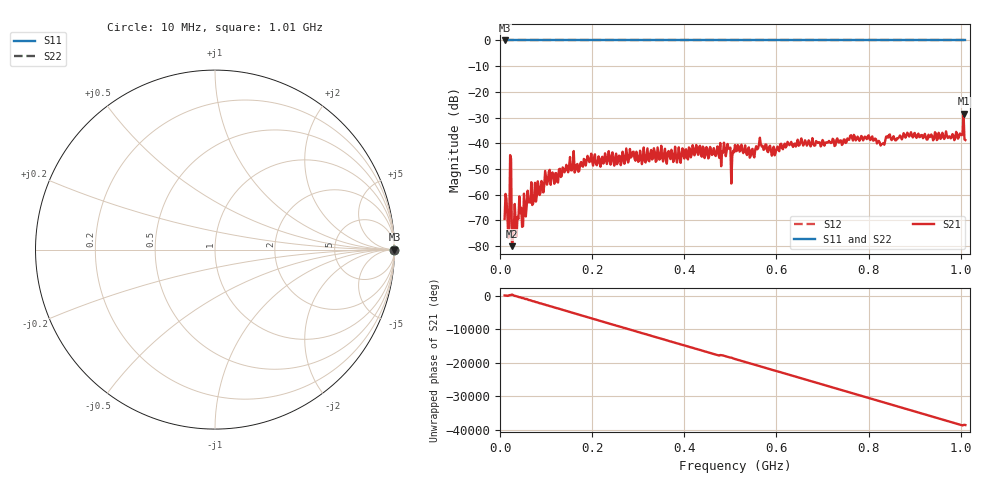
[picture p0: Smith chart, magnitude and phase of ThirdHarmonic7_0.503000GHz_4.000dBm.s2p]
! 8/17/2025 2:27:43 PM
! C:\ANRITSUVNA\TEMP\TEMP.S2P
! CHANNEL.1
! TR.MEASUREMENT
! RAW.DATA
! RF.CORRECTION.OFF
! AVERAGING.OFF
! IF.BANDWIDTH: 5KHZ
! SWEEPTYPE:  FREQ.SWEEP(Linear)
! Reference Plane Port Info
! PORT:  PORT1  PORT2
! DISTANCE:  0  m  0  m
! TIME:  0  s  0  s
! PHASE.OFFSET:  0  deg.  0  deg.
! LOSS:  0  dB  0  dB
! REF.LOSS:  0  dB  0  dB
! REF.FREQ:  0  Hz  0  Hz
! Power Info
! POWER:  -20  dBm  -20  dBm
! EFF.POWER:  -20  dBm  -20  dBm
! SOURCE.ATTEN:  0  dB  0  dB
! TEST.ATTEN:  0  dB  0  dB
# GHZ S RI R 50.0
! FREQ.GHZ  S11RE  S11IM  S21RE  S21IM  S12RE  S12IM  S22RE  S22IM
!; PortSelection: Port_12
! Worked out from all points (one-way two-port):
!   501 points, 10 MHz to 1.01 GHz, reference 50 ohm
!   highest |S21| = -28.55 dB at 1.006 GHz (marker M1); lowest = -80.1 dB at 26 MHz (marker M2)
!   lowest |S11| = 0.0 dB at 10 MHz (marker M3)
!   |S11| at or under -10 dB: nowhere
!   |S22| runs from 0.0 to 0.0 dB; largest |S21 - S12| = 1
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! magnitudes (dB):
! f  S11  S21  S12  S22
! 10 MHz  0.0  -69.5  0.0  0.0
! 16 MHz  0.0  -68.1  0.0  0.0
! 20 MHz  0.0  -71.4  0.0  0.0
! 26 MHz  0.0  -80.1  0.0  0.0
! 30 MHz  0.0  -73.4  0.0  0.0
! 42 MHz  0.0  -60.7  0.0  0.0
! 52 MHz  0.0  -59.6  0.0  0.0
! 64 MHz  0.0  -62.7  0.0  0.0
! 74 MHz  0.0  -60.9  0.0  0.0
! 102 MHz  0.0  -56.1  0.0  0.0
! 178 MHz  0.0  -48.7  0.0  0.0
! 344 MHz  0.0  -44.1  0.0  0.0
! 478 MHz  0.0  -39.9  0.0  0.0
! 496 MHz  0.0  -42.1  0.0  0.0
! 504 MHz  0.0  -45.1  0.0  0.0
! 510 MHz  0.0  -40.7  0.0  0.0
! 678 MHz  0.0  -38.0  0.0  0.0
! 764 MHz  0.0  -37.9  0.0  0.0
! 830 MHz  0.0  -40.2  0.0  0.0
! 844 MHz  0.0  -36.8  0.0  0.0
! 1.006 GHz  0.0  -28.5  0.0  0.0
! 1.01 GHz  0.0  -38.8  0.0  0.0
